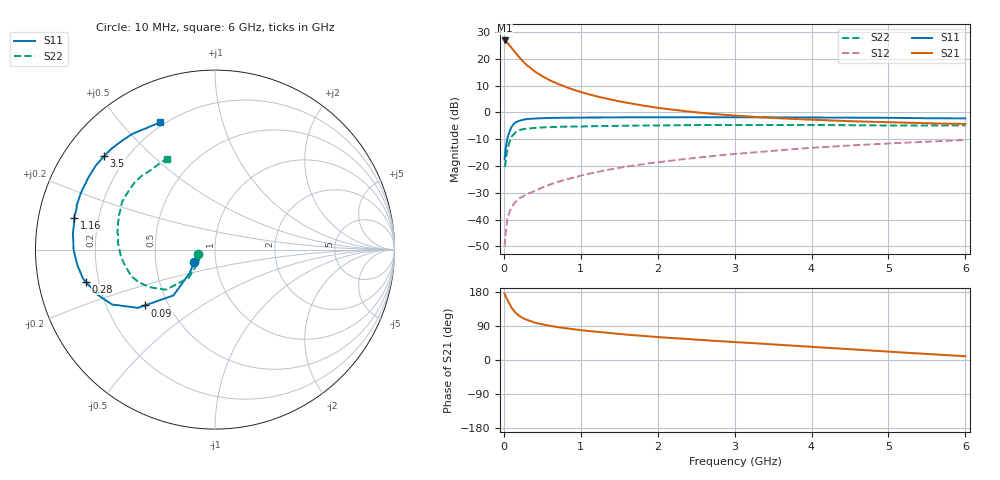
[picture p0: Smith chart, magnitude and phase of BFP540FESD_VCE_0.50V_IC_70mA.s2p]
! Infineon Technologies  Discrete & RF Semiconductors
! BFP540FESD
! VCE = 0.50 V,  IC =  70 mA
! Common Emitter S-Parameters:  Nov 2015
# GHz  S  MA  R  50
!  f  S11  S21  S12  S22
! GHz  MAG  ANG  MAG  ANG  MAG  ANG  MAG  ANG
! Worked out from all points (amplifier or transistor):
!   210 points, 10 MHz to 6 GHz, reference 50 ohm
!   highest |S21| = 26.8 dB at 10 MHz (marker M1)
!   |S21| within 3 dB of that: start of sweep to 108.6 MHz
!   unconditionally stable (mu >= 1): start of sweep to end of sweep
!   at 185 MHz: K = 1.09, MAG = 24.9 dB, |S12| = -32.5 dB
!   at 1.52 GHz: K = 1.30, MAG = 9.0 dB, |S12| = -20.6 dB
!   at 6 GHz: K = 1.23, MAG = 0.1 dB, |S12| = -10.3 dB
!   S11 on the Smith chart (normalised r, x): 10 MHz: 0.78, -0.11; 90 MHz: 0.37, -0.31; 280 MHz: 0.15, -0.12; 1.16 GHz: 0.11, +0.11; 3.5 GHz: 0.12, +0.36; 6 GHz: 0.18, +0.64
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0.01  0.1356 -149.4  21.95 175.5  0.0032 41.2  0.0961 -165.3
0.02  0.1893 -137.4  20.82 169.8  0.0047 61.2  0.1078 -144.6
0.05  0.3448 -132.2  19.64 156.3  0.011 60.0  0.2155 -132.9
0.09  0.4986 -141.4  16.68 141.9  0.0159 55.4  0.3256 -139.7
0.1  0.5383 -142.9  16.13 137.6  0.0171 54.7  0.3535 -140.7
0.15  0.6497 -151.9  12.96 124.9  0.0213 52.7  0.4214 -150.2
0.2  0.6988 -158.7  10.62 116.4  0.0249 51.7  0.4632 -157.1
0.24  0.7219 -162.9  9.208 111.6  0.0267 52.0  0.4826 -161.1
0.28  0.7425 -166.1  8.089 107.6  0.0287 52.0  0.4932 -164.3
0.3  0.7526 -167.5  7.582 105.6  0.0298 52.0  0.4972 -165.8
0.4  0.771 -173.3  5.83 98.7  0.0342 54.8  0.5142 -171.7
0.5  0.7803 -177.3  4.713 93.8  0.0397 56.6  0.5261 -176.0
0.6  0.7883 179.8  3.951 90.1  0.045 57.8  0.5308 -179.1
0.8  0.7963 174.1  2.984 83.8  0.0555 59.0  0.5425 176.0
1.02  0.7986 169.7  2.352 78.4  0.0674 59.7  0.5465 171.4
1.16  0.8036 167.3  2.072 75.4  0.0747 59.5  0.5534 169.2
2.02  0.8108 154.9  1.206 60.2  0.1182 55.5  0.5705 158.2
3.1  0.8111 143.9  0.854 46.2  0.1722 48.1  0.582 149.3
3.5  0.8081 139.8  0.786 41.1  0.1926 44.6  0.5815 145.8
4.1  0.8034 134.8  0.722 33.5  0.2231 39.1  0.5822 139.3
5.1  0.7889 124.5  0.649 20.8  0.2678 28.3  0.5692 127.7
6  0.7719 113.4  0.61 9.9  0.3053 18.7  0.5733 118.0
